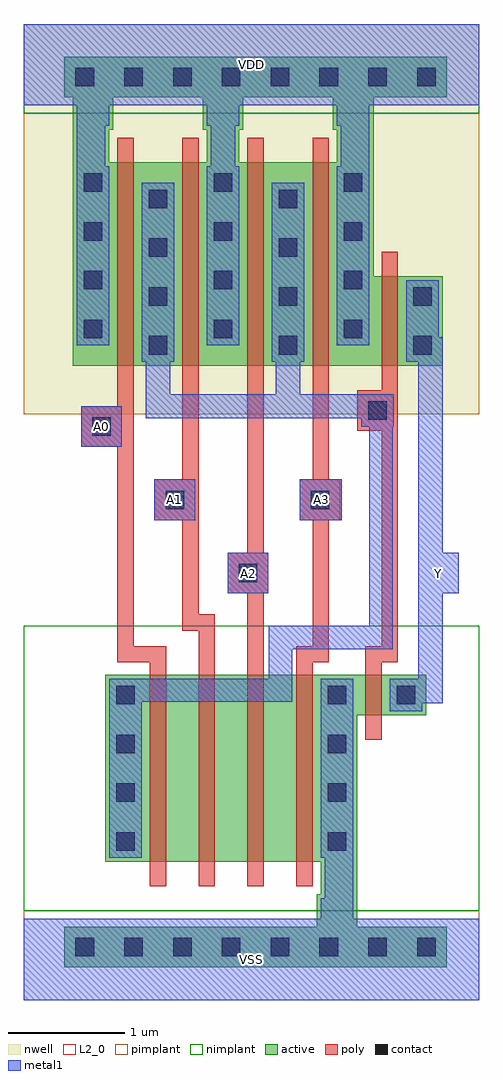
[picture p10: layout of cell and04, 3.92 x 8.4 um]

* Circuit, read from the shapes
.subckt and04 A0 A1 A2 A3 VDD VSS Y
M1 n1 A0 n2 VSS nfet w=1.61u l=0.14u
M2 n3 A1 n1 VSS nfet w=1.61u l=0.14u
M3 n4 A2 n3 VSS nfet w=1.61u l=0.14u
M4 VSS A3 n4 VSS nfet w=1.61u l=0.14u
M5 Y n2 VSS VSS nfet w=0.35u l=0.14u
M6 n2 A0 VDD VDD pfet w=1.75u l=0.14u
M7 VDD A1 n2 VDD pfet w=1.75u l=0.14u
M8 n2 A2 VDD VDD pfet w=1.75u l=0.14u
M9 VDD A3 n2 VDD pfet w=1.75u l=0.14u
M10 Y n2 VDD VDD pfet w=0.77u l=0.14u
.ends

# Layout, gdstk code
import gdstk
lib = gdstk.Library(unit=1e-6, precision=1e-09)
def R(c, l, rs):  # rectangles x0, y0, x1, y1
    for r in rs: c.add(gdstk.rectangle(r[:2], r[2:], *l))
def A(c, l, x, y, w, h, nx, ny, dx, dy):  # array of equal rectangles
    R(c, l, [(x+i*dx, y+j*dy, x+i*dx+w, y+j*dy+h) for i in range(nx) for j in range(ny)])
def P(c, l, *ps):  # polygons
    for p in ps: c.add(gdstk.Polygon(p, *l))
L2_0 = (2, 0)
nwell = (3, 0)
active = (6, 0)
poly = (17, 0)
pimplant = (25, 0)
nimplant = (26, 0)
contact = (30, 0)
metal1 = (31, 0)

adk_poly_m1 = lib.new_cell('ADK_poly_m1')
R(adk_poly_m1, poly, [(-0.175,-0.175,0.175,0.175)])
R(adk_poly_m1, contact, [(-0.08,-0.08,0.08,0.08)])
R(adk_poly_m1, metal1, [(-0.175,-0.175,0.175,0.175)])

and04 = lib.new_cell('and04')
R(and04, L2_0, [(0,0,3.92,3.22)])
R(and04, nwell, [(0,5.04,3.92,8.4)])
P(and04, nwell, [(0,5.04),(3.92,5.04),(3.92,6.65),(3.43,6.65),(3.43,7.63),(0,7.63)])
A(and04, active, 0.42, 7.49, 0.35, 0.28, 3, 1, 1.12, 0)
R(and04, active, [(0.35,0.28,3.64,0.63), (2.52,0.63,2.87,0.91), (2.555,0.91,2.87,1.19), (0.7,1.19,1.085,2.8), (3.08,2.45,3.465,2.8), (0.42,5.46,0.805,7.21), (3.22,5.46,3.605,6.23), (0.42,7.21,0.735,7.49), (1.575,7.21,1.855,7.49), (2.695,7.21,3.01,7.49), (0.35,7.77,3.64,8.12)])
P(and04, active, [(0.7,1.19),(2.87,1.19),(2.87,2.45),(3.465,2.45),(3.465,2.8),(0.7,2.8)],
  [(0.42,5.46),(3.605,5.46),(3.605,6.23),(3.01,6.23),(3.01,7.21),(0.42,7.21)])
A(and04, poly, 1.085, 0.98, 0.14, 0.21, 4, 2, 0.42, 1.82)
A(and04, poly, 1.085, 1.19, 0.14, 1.61, 4, 1, 0.42, 0)
A(and04, poly, 0.805, 5.25, 0.14, 0.21, 4, 2, 0.56, 1.96)
A(and04, poly, 0.805, 5.46, 0.14, 1.75, 4, 1, 0.56, 0)
R(and04, poly, [(2.94,2.24,3.08,2.45), (2.94,2.45,3.08,2.8), (2.94,2.8,3.08,3.01), (1.925,2.975,2.065,5.285), (2.87,4.9,3.22,5.25), (3.08,5.25,3.22,5.46), (3.08,5.46,3.22,6.23), (3.08,6.23,3.22,6.44)])
P(and04, poly, [(2.94,2.905),(3.22,2.905),(3.22,5.285),(3.08,5.285),(3.08,3.045),(2.94,3.045)],
  [(2.345,2.905),(2.625,2.905),(2.625,5.285),(2.485,5.285),(2.485,3.045),(2.345,3.045)],
  [(1.365,3.18),(1.505,3.18),(1.505,2.975),(1.645,2.975),(1.645,3.32),(1.505,3.32),(1.505,5.285),(1.365,5.285)],
  [(0.805,2.905),(1.225,2.905),(1.225,3.045),(0.945,3.045),(0.945,5.285),(0.805,5.285)])
R(and04, pimplant, [(0,0,3.92,0.77), (0,5.04,3.92,7.63)])
R(and04, nimplant, [(0,0.77,3.92,3.22), (0,7.63,3.92,8.4)])
A(and04, contact, 0.445, 0.375, 0.16, 0.16, 8, 2, 0.42, 7.49)
A(and04, contact, 0.795, 1.285, 0.16, 0.16, 1, 4, 0, 0.42)
A(and04, contact, 2.615, 1.285, 0.16, 0.16, 1, 4, 0, 0.42)
A(and04, contact, 1.075, 5.555, 0.16, 0.16, 1, 4, 0, 0.42)
A(and04, contact, 2.195, 5.555, 0.16, 0.16, 1, 4, 0, 0.42)
A(and04, contact, 0.515, 5.695, 0.16, 0.16, 3, 4, 1.12, 0.42)
R(and04, contact, [(3.21,2.545,3.37,2.705), (2.965,4.995,3.125,5.155), (3.35,5.555,3.51,5.715), (3.35,5.975,3.51,6.135)])
A(and04, metal1, 0.455, 5.635, 0.28, 1.54, 3, 1, 1.12, 0)
A(and04, metal1, 0.455, 7.525, 0.28, 0.175, 3, 1, 1.12, 0)
R(and04, metal1, [(0,0,3.92,0.7), (0,0,3.92,0.7), (2.555,0.7,2.835,0.875), (2.59,0.875,2.835,1.225), (0.735,1.225,1.015,2.765), (2.555,1.225,2.835,2.765), (3.15,2.485,3.43,2.765), (3.395,2.555,3.605,5.705), (1.755,3.5,2.105,3.85), (3.395,3.5,3.745,3.85), (1.125,4.13,1.475,4.48), (2.385,4.13,2.735,4.48), (0.495,4.76,0.845,5.11), (2.905,4.935,3.185,5.215), (1.05,5.005,1.26,5.495), (2.38,5.005,2.905,5.215), (1.015,5.495,1.295,7.035), (2.135,5.495,2.415,7.035), (3.29,5.495,3.57,6.195), (0.455,7.175,0.7,7.525), (1.61,7.175,1.82,7.525), (2.73,7.175,2.975,7.525), (0,7.7,3.92,8.4), (0,7.7,3.92,8.4)])
P(and04, metal1, [(0.815,2.565),(2.31,2.565),(2.31,3.02),(3.175,3.02),(3.175,5.135),(2.975,5.135),(2.975,3.22),(2.11,3.22),(2.11,2.765),(0.815,2.765)],
  [(1.26,5.005),(2.38,5.005),(2.38,5.495),(2.17,5.495),(2.17,5.215),(1.26,5.215)])
and04.add(gdstk.Reference(adk_poly_m1, (1.3,4.305)))
and04.add(gdstk.Reference(adk_poly_m1, (2.55,4.305)))
and04.add(gdstk.Reference(adk_poly_m1, (1.93,3.675)))
and04.add(gdstk.Reference(adk_poly_m1, (0.67,4.935)))
and04.add(gdstk.Label('A3', (2.56,4.305), layer=131, texttype=0))
and04.add(gdstk.Label('Y', (3.57,3.675), layer=131, texttype=0))
and04.add(gdstk.Label('A0', (0.67,4.935), layer=131, texttype=0))
and04.add(gdstk.Label('A2', (1.93,3.675), layer=131, texttype=0))
and04.add(gdstk.Label('A1', (1.3,4.305), layer=131, texttype=0))
and04.add(gdstk.Label('VSS', (1.96,0.35), layer=131, texttype=0))
and04.add(gdstk.Label('VDD', (1.96,8.05), layer=131, texttype=0))

lib.write_gds('and04.gds')
